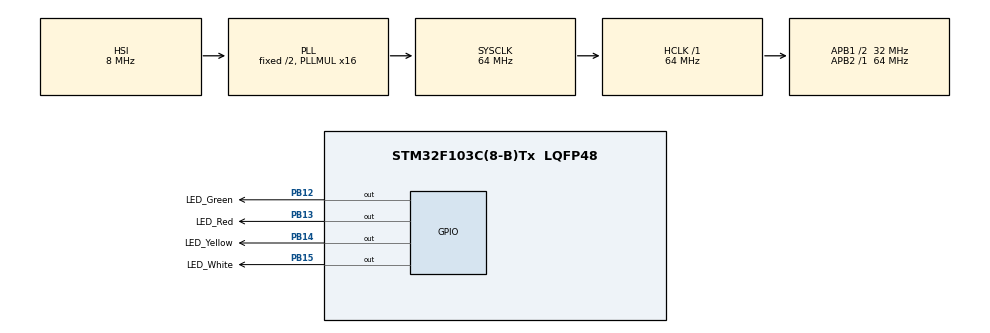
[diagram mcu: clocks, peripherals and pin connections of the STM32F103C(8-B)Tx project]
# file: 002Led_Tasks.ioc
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Mcu.Family=STM32F1
Mcu.Name=STM32F103C(8-B)Tx
Mcu.Package=LQFP48
NVIC.PriorityGroup=NVIC_PRIORITYGROUP_4
NVIC.TIM1_UP_IRQn=true\:15\:0\:false\:false\:true\:false\:true
NVIC.TimeBase=TIM1_UP_IRQn
NVIC.TimeBaseIP=TIM1
PA13.Mode=Serial_Wire
PA13.Signal=SYS_JTMS-SWDIO
PA14.Mode=Serial_Wire
PA14.Signal=SYS_JTCK-SWCLK
PB12.GPIO_Label=LED_Green
PB12.Signal=GPIO_Output
PB13.GPIO_Label=LED_Red
PB13.Signal=GPIO_Output
PB14.GPIO_Label=LED_Yellow
PB14.Signal=GPIO_Output
PB15.GPIO_Label=LED_White
PB15.Signal=GPIO_Output
ProjectManager.HeapSize=0x200
ProjectManager.StackSize=0x400
ProjectManager.TargetToolchain=STM32CubeIDE
RCC.AHBFreq_Value=64000000
RCC.APB1CLKDivider=RCC_HCLK_DIV2
RCC.APB1Freq_Value=32000000
RCC.APB1TimFreq_Value=64000000
RCC.APB2Freq_Value=64000000
RCC.APB2TimFreq_Value=64000000
RCC.HCLKFreq_Value=64000000
RCC.PLLMUL=RCC_PLL_MUL16
RCC.SYSCLKFreq_VALUE=64000000
RCC.SYSCLKSource=RCC_SYSCLKSOURCE_PLLCLK
RCC.USBFreq_Value=64000000
VP_SYS_VS_tim1.Mode=TIM1
board=custom

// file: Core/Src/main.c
/* USER CODE BEGIN Header */
/**
  ******************************************************************************
  * @file           : main.c
  * @brief          : Main program body
  ******************************************************************************
  * @attention
  *
  * Copyright (c) 2022 STMicroelectronics.
  * All rights reserved.
  *
  * This software is licensed under terms that can be found in the LICENSE file
  * in the root directory of this software component.
  * If no LICENSE file comes with this software, it is provided AS-IS.
  *
  ******************************************************************************
  */
/* USER CODE END Header */
#include "main.h"

/* USER CODE BEGIN PV */

TaskHandle_t task1_handle, task2_handle, task3_handle, task4_handle;
BaseType_t status;
/* USER CODE END PV */

void SystemClock_Config(void);
static void MX_GPIO_Init(void);
/* USER CODE BEGIN PFP */
void ledRed_handler(void *pvParameters);
void ledWhite_handler(void *pvParameters);
void ledYellow_handler(void *pvParameters);
void ledGreen_handler(void *pvParameters);

/* USER CODE END PFP */

int main(void)
{

  /* MCU Configuration--------------------------------------------------------*/

  /* Reset of all peripherals, Initializes the Flash interface and the Systick. */
  HAL_Init();

  /* Configure the system clock */
  SystemClock_Config();

  /* Initialize all configured peripherals */
  MX_GPIO_Init();
  /* USER CODE BEGIN 2 */
  DWT_CTRL |= (1 << 0);

  status = xTaskCreate(ledGreen_handler, "LED_Green_Task", 100, NULL, 2, &task1_handle);

  configASSERT(status == pdPASS);

  status = xTaskCreate(ledYellow_handler, "LED_Yellow_Task", 100, NULL, 2, &task2_handle);

  configASSERT(status == pdPASS);

  status = xTaskCreate(ledRed_handler, "LED_Yellow_Task", 100, NULL, 2, &task3_handle);

  configASSERT(status == pdPASS);

  status = xTaskCreate(ledWhite_handler, "LED_White_Task", 100, NULL, 2, &task4_handle);

  configASSERT(status == pdPASS);

  vTaskStartScheduler();
  /* USER CODE END 2 */

  /* Infinite loop */
  while (1)
  {

  }
}

void SystemClock_Config(void)
{
  RCC_OscInitTypeDef RCC_OscInitStruct = {0};
  RCC_ClkInitTypeDef RCC_ClkInitStruct = {0};

  /** Initializes the RCC Oscillators according to the specified parameters
  * in the RCC_OscInitTypeDef structure.
  */
  RCC_OscInitStruct.OscillatorType = RCC_OSCILLATORTYPE_HSI;
  RCC_OscInitStruct.HSIState = RCC_HSI_ON;
  RCC_OscInitStruct.HSICalibrationValue = RCC_HSICALIBRATION_DEFAULT;
  RCC_OscInitStruct.PLL.PLLState = RCC_PLL_ON;
  RCC_OscInitStruct.PLL.PLLSource = RCC_PLLSOURCE_HSI_DIV2;
  RCC_OscInitStruct.PLL.PLLMUL = RCC_PLL_MUL16;
  if (HAL_RCC_OscConfig(&RCC_OscInitStruct) != HAL_OK)
  {
    Error_Handler();
  }
  /** Initializes the CPU, AHB and APB buses clocks
  */
  RCC_ClkInitStruct.ClockType = RCC_CLOCKTYPE_HCLK|RCC_CLOCKTYPE_SYSCLK
                              |RCC_CLOCKTYPE_PCLK1|RCC_CLOCKTYPE_PCLK2;
  RCC_ClkInitStruct.SYSCLKSource = RCC_SYSCLKSOURCE_PLLCLK;
  RCC_ClkInitStruct.AHBCLKDivider = RCC_SYSCLK_DIV1;
  RCC_ClkInitStruct.APB1CLKDivider = RCC_HCLK_DIV2;
  RCC_ClkInitStruct.APB2CLKDivider = RCC_HCLK_DIV1;

  if (HAL_RCC_ClockConfig(&RCC_ClkInitStruct, FLASH_LATENCY_2) != HAL_OK)
  {
    Error_Handler();
  }
}

static void MX_GPIO_Init(void)
{
  GPIO_InitTypeDef GPIO_InitStruct = {0};

  /* GPIO Ports Clock Enable */
  __HAL_RCC_GPIOB_CLK_ENABLE();
  __HAL_RCC_GPIOA_CLK_ENABLE();

  /*Configure GPIO pin Output Level */
  HAL_GPIO_WritePin(GPIOB, LED_Green_Pin|LED_Red_Pin|LED_Yellow_Pin|LED_White_Pin, GPIO_PIN_RESET);

  /*Configure GPIO pins : LED_Green_Pin LED_Red_Pin LED_Yellow_Pin LED_White_Pin */
  GPIO_InitStruct.Pin = LED_Green_Pin|LED_Red_Pin|LED_Yellow_Pin|LED_White_Pin;
  GPIO_InitStruct.Mode = GPIO_MODE_OUTPUT_PP;
  GPIO_InitStruct.Pull = GPIO_NOPULL;
  GPIO_InitStruct.Speed = GPIO_SPEED_FREQ_LOW;
  HAL_GPIO_Init(GPIOB, &GPIO_InitStruct);

}

/* USER CODE BEGIN 4 */
void ledGreen_handler(void *pvParameters){

	TickType_t delay = pdMS_TO_TICKS(1200), initTask = xTaskGetTickCount();
	while(1){

		HAL_GPIO_TogglePin(LED_Green_GPIO_Port, LED_Green_Pin);
		//HAL_Delay(1000);
		//vTaskDelay(delay);
		vTaskDelayUntil(&initTask, delay);
	}

}
void ledYellow_handler(void *pvParameters){

	TickType_t delay = pdMS_TO_TICKS(900), initTask = xTaskGetTickCount();
	while(1){

		HAL_GPIO_TogglePin(LED_Yellow_GPIO_Port, LED_Yellow_Pin);
		//HAL_Delay(800);
		//vTaskDelay(delay);
		vTaskDelayUntil(&initTask, delay);
	}
}
void ledRed_handler(void *pvParameters){

	TickType_t delay = pdMS_TO_TICKS(600), initTask = xTaskGetTickCount();

	while(1){
		//SEGGER_SYSVIEW_PrintfTarget("teste");

		HAL_GPIO_TogglePin(LED_Red_GPIO_Port, LED_Red_Pin);
		//HAL_Delay(400);
		//vTaskDelay(delay);
		vTaskDelayUntil(&initTask, delay);
	}
}
void ledWhite_handler(void *pvParameters){

	TickType_t delay = pdMS_TO_TICKS(300), initTask = xTaskGetTickCount();

	while(1){
		//SEGGER_SYSVIEW_PrintfTarget("teste");
		HAL_GPIO_TogglePin(LED_White_GPIO_Port, LED_White_Pin);
		//HAL_Delay(400);
		//vTaskDelay(delay);
		vTaskDelayUntil(&initTask, delay);
	}
}
/* USER CODE END 4 */

void HAL_TIM_PeriodElapsedCallback(TIM_HandleTypeDef *htim)
{
  if (htim->Instance == TIM1) {
    HAL_IncTick();
  }
}

void Error_Handler(void)
{
  __disable_irq();
  while (1)
  {
  }
}
